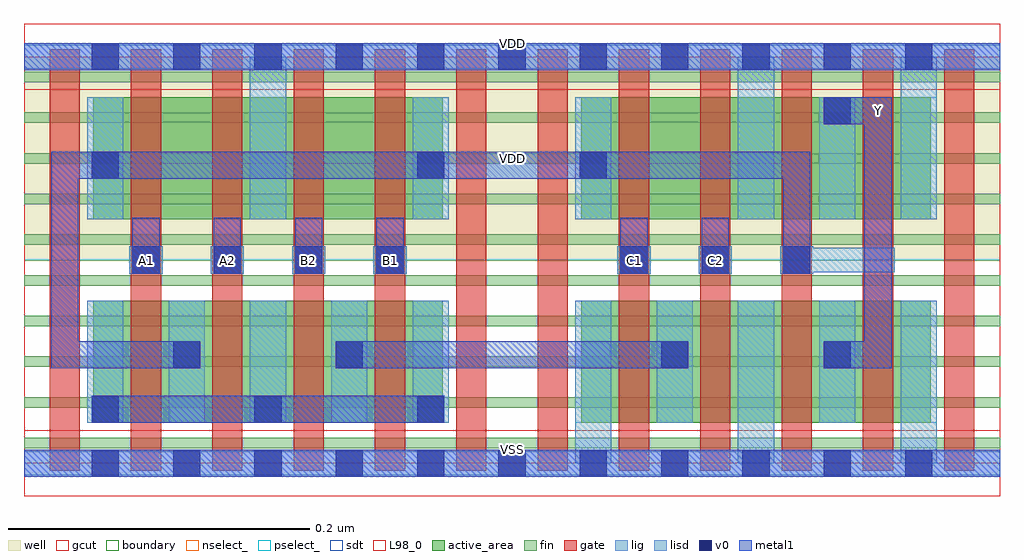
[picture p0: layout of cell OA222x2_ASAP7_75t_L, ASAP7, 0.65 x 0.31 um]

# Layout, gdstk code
import gdstk
lib = gdstk.Library(unit=1e-6, precision=2.5e-10)
def R(c, l, rs):  # rectangles x0, y0, x1, y1
    for r in rs: c.add(gdstk.rectangle(r[:2], r[2:], *l))
def A(c, l, x, y, w, h, nx, ny, dx, dy):  # array of equal rectangles
    R(c, l, [(x+i*dx, y+j*dy, x+i*dx+w, y+j*dy+h) for i in range(nx) for j in range(ny)])
def P(c, l, *ps):  # polygons
    for p in ps: c.add(gdstk.Polygon(p, *l))
well = (1, 0)
fin = (2, 0)
gate = (7, 0)
gcut = (10, 0)
active_area = (11, 0)
nselect_ = (12, 0)
pselect_ = (13, 0)
lig = (16, 0)
lisd = (17, 0)
v0 = (18, 0)
metal1 = (19, 0)
sdt = (88, 0)
L98_0 = (98, 0)
boundary = (100, 0)

oa222x2_asap7_75t_l = lib.new_cell('OA222x2_ASAP7_75t_L')
R(oa222x2_asap7_75t_l, well, [(0,0.135,0.648,0.27)])
A(oa222x2_asap7_75t_l, fin, 0, 0.01, 0.648, 0.007, 1, 10, 0, 0.027)
A(oa222x2_asap7_75t_l, gate, 0.017, -0.005, 0.02, 0.28, 12, 1, 0.054, 0)
R(oa222x2_asap7_75t_l, gcut, [(0,-0.022,0.648,0.022), (0,0.248,0.648,0.292)])
R(oa222x2_asap7_75t_l, active_area, [(0.046,0.027,0.278,0.108), (0.37,0.027,0.602,0.108), (0.046,0.162,0.278,0.243), (0.37,0.162,0.602,0.243)])
R(oa222x2_asap7_75t_l, nselect_, [(0,0,0.648,0.135)])
R(oa222x2_asap7_75t_l, pselect_, [(0,0.135,0.648,0.27)])
A(oa222x2_asap7_75t_l, lig, 0.07, 0.126, 0.022, 0.018, 4, 1, 0.054, 0)
A(oa222x2_asap7_75t_l, lig, 0.394, 0.126, 0.022, 0.018, 3, 1, 0.054, 0)
R(oa222x2_asap7_75t_l, lig, [(0,-0.008,0.648,0.008), (0.502,0.127,0.578,0.143), (0,0.262,0.648,0.278)])
A(oa222x2_asap7_75t_l, lisd, 0.042, 0.027, 0.024, 0.081, 5, 1, 0.054, 0)
R(oa222x2_asap7_75t_l, lisd, [(0.366,0,0.39,0.108), (0.366,0,0.39,0.108), (0.474,0,0.498,0.108), (0.474,0,0.498,0.108), (0.582,0,0.606,0.108), (0.582,0,0.606,0.108), (0.42,0.027,0.444,0.108), (0.528,0.027,0.552,0.108), (0.042,0.162,0.066,0.243), (0.15,0.162,0.174,0.27), (0.15,0.162,0.174,0.27), (0.258,0.162,0.282,0.243), (0.366,0.162,0.39,0.243), (0.474,0.162,0.498,0.27), (0.474,0.162,0.498,0.27), (0.528,0.162,0.552,0.243), (0.582,0.162,0.606,0.27), (0.582,0.162,0.606,0.27)])
A(oa222x2_asap7_75t_l, v0, 0.045, -0.009, 0.018, 0.018, 11, 2, 0.054, 0.27)
A(oa222x2_asap7_75t_l, v0, 0.045, 0.027, 0.018, 0.018, 3, 1, 0.108, 0)
A(oa222x2_asap7_75t_l, v0, 0.072, 0.126, 0.018, 0.018, 4, 1, 0.054, 0)
A(oa222x2_asap7_75t_l, v0, 0.396, 0.126, 0.018, 0.018, 3, 1, 0.054, 0)
R(oa222x2_asap7_75t_l, v0, [(0.099,0.063,0.117,0.081), (0.207,0.063,0.225,0.081), (0.423,0.063,0.441,0.081), (0.531,0.063,0.549,0.081), (0.045,0.189,0.063,0.207), (0.261,0.189,0.279,0.207), (0.369,0.189,0.387,0.207), (0.531,0.225,0.549,0.243)])
A(oa222x2_asap7_75t_l, metal1, 0.045, 0.027, 0.018, 0.018, 3, 1, 0.108, 0)
A(oa222x2_asap7_75t_l, metal1, 0.072, 0.126, 0.018, 0.018, 4, 1, 0.054, 0)
A(oa222x2_asap7_75t_l, metal1, 0.072, 0.126, 0.018, 0.037, 4, 1, 0.054, 0)
A(oa222x2_asap7_75t_l, metal1, 0.396, 0.126, 0.018, 0.018, 3, 1, 0.054, 0)
R(oa222x2_asap7_75t_l, metal1, [(0,-0.009,0.648,0.009), (0.045,0.027,0.279,0.045), (0.099,0.063,0.117,0.081), (0.207,0.063,0.225,0.081), (0.207,0.063,0.441,0.081), (0.423,0.063,0.441,0.081), (0.531,0.063,0.549,0.081), (0.396,0.126,0.414,0.163), (0.45,0.126,0.468,0.163), (0.045,0.189,0.063,0.207), (0.261,0.189,0.279,0.207), (0.369,0.189,0.387,0.207), (0.531,0.225,0.549,0.243), (0,0.261,0.648,0.279)])
P(oa222x2_asap7_75t_l, metal1, [(0.522,0.126),(0.522,0.207),(0.018,0.207),(0.018,0.063),(0.117,0.063),(0.117,0.081),(0.036,0.081),(0.036,0.189),(0.504,0.189),(0.504,0.126)],
  [(0.531,0.243),(0.531,0.225),(0.558,0.225),(0.558,0.081),(0.531,0.081),(0.531,0.063),(0.576,0.063),(0.576,0.243)])
A(oa222x2_asap7_75t_l, sdt, 0.042, 0.027, 0.024, 0.081, 5, 1, 0.054, 0)
A(oa222x2_asap7_75t_l, sdt, 0.366, 0.027, 0.024, 0.081, 3, 1, 0.054, 0)
A(oa222x2_asap7_75t_l, sdt, 0.474, 0.027, 0.024, 0.081, 3, 2, 0.054, 0.135)
A(oa222x2_asap7_75t_l, sdt, 0.15, 0.162, 0.024, 0.081, 4, 1, 0.108, 0)
R(oa222x2_asap7_75t_l, sdt, [(0.366,0.027,0.39,0.108), (0.582,0.027,0.606,0.108), (0.042,0.162,0.066,0.243), (0.15,0.162,0.174,0.243), (0.582,0.162,0.606,0.243)])
R(oa222x2_asap7_75t_l, L98_0, [(0,0,0.648,0.27)])
R(oa222x2_asap7_75t_l, boundary, [(0,0,0.648,0.27)])
oa222x2_asap7_75t_l.add(gdstk.Label('VDD', (0.324,0.2025), layer=1, texttype=251))
oa222x2_asap7_75t_l.add(gdstk.Label('VSS', (0.324,-0.0675), layer=3, texttype=251))
oa222x2_asap7_75t_l.add(gdstk.Label('VSS', (0.324,0.009), layer=19, texttype=251))
oa222x2_asap7_75t_l.add(gdstk.Label('VDD', (0.324,0.279), layer=19, texttype=251))
oa222x2_asap7_75t_l.add(gdstk.Label('A1', (0.081,0.135), layer=19, texttype=251))
oa222x2_asap7_75t_l.add(gdstk.Label('A2', (0.135,0.135), layer=19, texttype=251))
oa222x2_asap7_75t_l.add(gdstk.Label('B2', (0.189,0.135), layer=19, texttype=251))
oa222x2_asap7_75t_l.add(gdstk.Label('B1', (0.243,0.135), layer=19, texttype=251))
oa222x2_asap7_75t_l.add(gdstk.Label('C1', (0.405,0.135), layer=19, texttype=251))
oa222x2_asap7_75t_l.add(gdstk.Label('C2', (0.459,0.135), layer=19, texttype=251))
oa222x2_asap7_75t_l.add(gdstk.Label('Y', (0.567,0.234), layer=19, texttype=251))

lib.write_gds('OA222x2_ASAP7_75t_L.gds')
